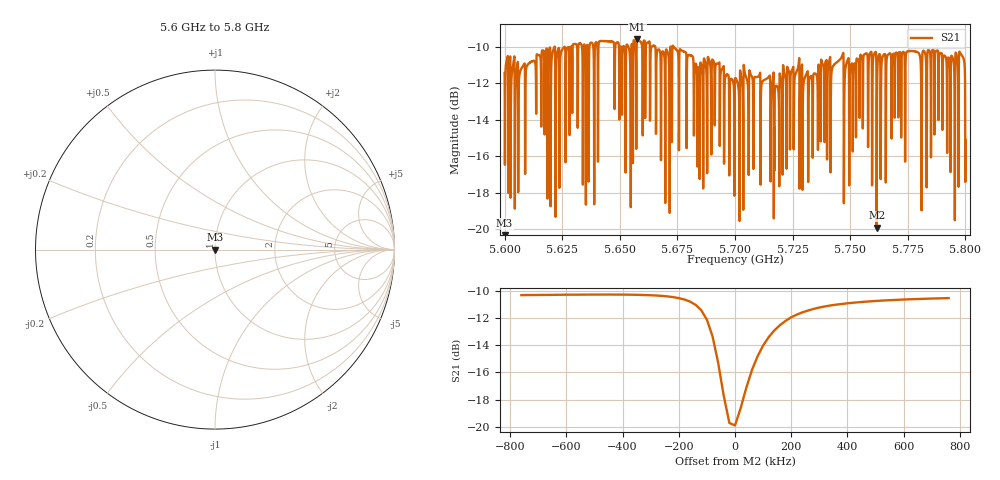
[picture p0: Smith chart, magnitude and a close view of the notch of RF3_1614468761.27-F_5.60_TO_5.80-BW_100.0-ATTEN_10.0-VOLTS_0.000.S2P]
!Keysight Technologies,E5063A,MY54502693,A.05.04
!Date: Sat Feb 27 16:33:00 2021
!Data & Calibration Information:
!Freq	S11:NONE(--)	S21:NONE(--)	S12:NONE(--)	S22:NONE(--)
# Hz S RI R 50
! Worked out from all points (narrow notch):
!   10000 points, 5.6 GHz to 5.8 GHz, reference 50 ohm
!   highest |S21| = -9.57 dB at 5.6576 GHz (marker M1); lowest = -19.9 dB at 5.7615 GHz (marker M2)
!   notch at M2: 9.2 dB deep, 130 kHz wide at half that depth
!   lowest |S11| = - dB at 5.6 GHz (marker M3), VSWR 1.00, Z = 50 + j0 ohm
!   |S11| at or under -10 dB: start of sweep to end of sweep
!   S12 and S22 are empty: the file has one direction only
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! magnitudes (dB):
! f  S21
! 5.6 GHz  -11.4
! 5.6053 GHz  -11.2
! 5.6148 GHz  -10.4
! 5.6194 GHz  -10.1
! 5.6253 GHz  -10.1
! 5.6333 GHz  -9.9
! 5.6464 GHz  -9.7
! 5.6548 GHz  -13.4
! 5.6576 GHz  -9.6
! 5.6667 GHz  -10.1
! 5.7 GHz  -11.8
! 5.7143 GHz  -11.7
! 5.7163 GHz  -12.0
! 5.7269 GHz  -11.3
! 5.729 GHz  -11.2
! 5.7334 GHz  -11.6
! 5.7461 GHz  -10.6
! 5.7615 GHz  -19.9
! 5.7667 GHz  -10.4
! 5.7961 GHz  -10.5
! 5.7982 GHz  -10.4
! 5.8 GHz  -15.1
